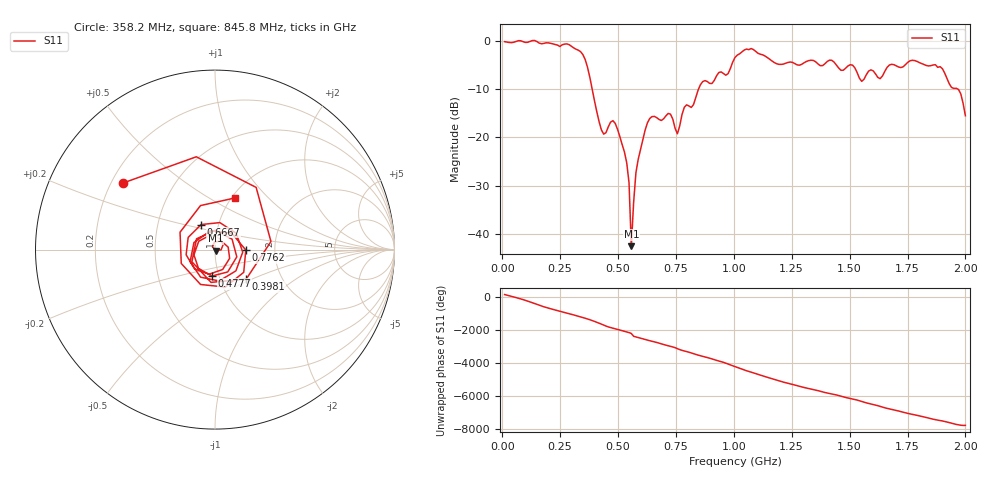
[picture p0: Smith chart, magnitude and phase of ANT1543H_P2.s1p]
!Created with skrf (http://scikit-rf.org).
# Hz S RI R 50.0
!freq ReS11 ImS11
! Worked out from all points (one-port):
!   201 points, 10 MHz to 2 GHz, reference 50 ohm
!   lowest |S11| = -42.5 dB at 557.2 MHz (marker M1), VSWR 1.02, Z = 50.4 - j0.643 ohm
!   |S11| at or under -10 dB: 388 MHz to 848 MHz (460 MHz wide, 74.4 % of centre); 1.965 GHz to end of sweep
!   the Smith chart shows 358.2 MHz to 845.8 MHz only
!   S11 on the Smith chart (normalised r, x): 358.2 MHz: 0.25, +0.31; 398.1 MHz: 1.33, -0.46; 477.6 MHz: 0.93, -0.28; 666.7 MHz: 0.83, +0.24; 776.1 MHz: 1.41, -0.01; 845.8 MHz: 1.03, +0.66
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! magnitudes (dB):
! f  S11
! 10 MHz  -0.2
! 258.8 MHz  -0.9
! 358.2 MHz  -4.0
! 398.1 MHz  -12.4
! 437.9 MHz  -19.4
! 477.6 MHz  -16.6
! 507.5 MHz  -19.8
! 537.4 MHz  -25.3
! 547.3 MHz  -29.4
! 557.2 MHz  -42.5
! 577.1 MHz  -27.3
! 587.1 MHz  -24.5
! 626.9 MHz  -17.0
! 666.7 MHz  -15.9
! 726.4 MHz  -15.2
! 756.2 MHz  -19.3
! 776.1 MHz  -15.3
! 845.8 MHz  -10.2
! 975.1 MHz  -6.9
! 1.005 GHz  -3.5
! 1.075 GHz  -1.7
! 1.254 GHz  -4.5
! 1.502 GHz  -5.0
! 1.552 GHz  -8.4
! 1.751 GHz  -4.5
! 1.901 GHz  -5.8
! 1.98 GHz  -11.0
! 2 GHz  -15.6
